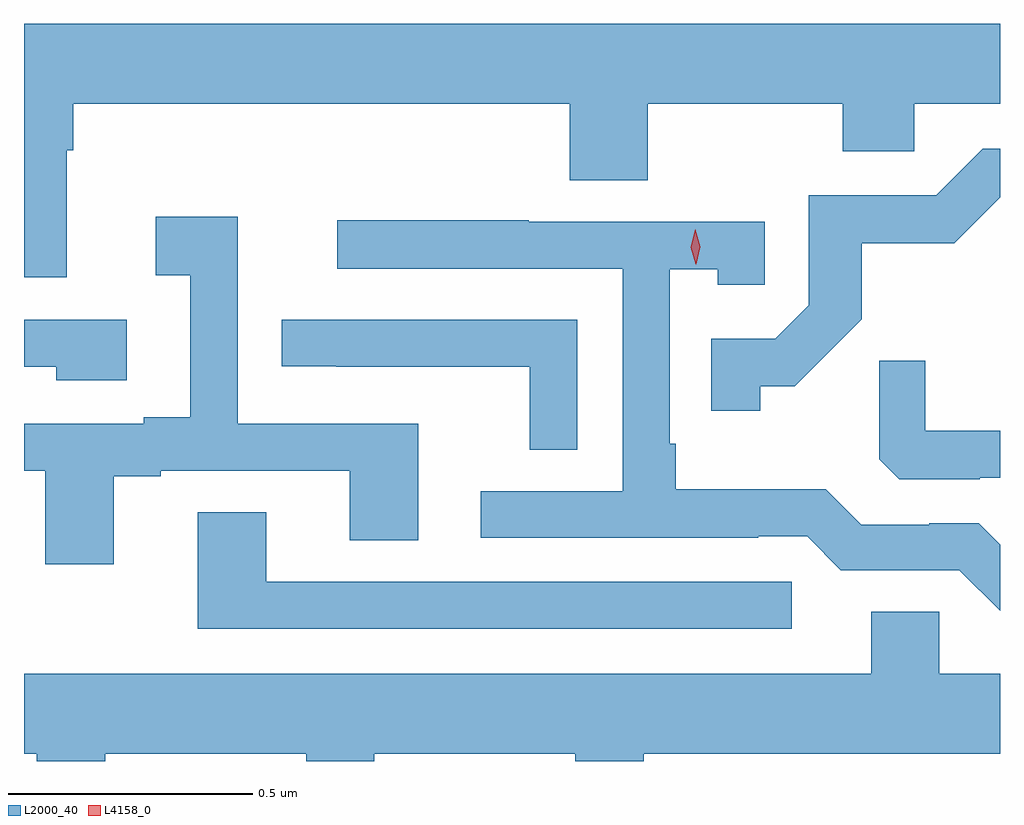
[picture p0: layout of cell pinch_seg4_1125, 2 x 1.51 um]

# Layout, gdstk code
import gdstk
lib = gdstk.Library(unit=1e-6, precision=1e-09)
def P(c, l, *ps):  # polygons
    for p in ps: c.add(gdstk.Polygon(p, *l))
L2000_40 = (2000, 40)
L4158_0 = (4158, 0)

pinch_seg4_1125 = lib.new_cell('pinch_seg4_1125')
P(pinch_seg4_1125, L2000_40, [(419.959,827.36),(419.972,827.36),(419.972,827.456),(420.989,827.456),(420.989,827.299),(421.149,827.299),(421.149,827.456),(421.549,827.456),(421.549,827.358),(421.695,827.358),(421.695,827.456),(421.871,827.456),(421.871,827.62),(419.871,827.62),(419.871,827.1),(419.959,827.1)],
  [(421.38,826.877),(421.45,826.877),(421.588,827.014),(421.588,827.17),(421.777,827.17),(421.871,827.264),(421.871,827.364),(421.836,827.364),(421.74,827.268),(421.479,827.268),(421.479,827.043),(421.41,826.974),(421.279,826.974),(421.279,826.827),(421.38,826.827)],
  [(420.055,826.692),(420.151,826.692),(420.151,826.704),(420.539,826.704),(420.539,826.561),(420.679,826.561),(420.679,826.8),(420.309,826.8),(420.309,827.224),(420.141,827.224),(420.141,827.104),(420.212,827.104),(420.212,826.813),(420.116,826.813),(420.116,826.8),(419.871,826.8),(419.871,826.704),(419.915,826.704),(419.915,826.512),(420.055,826.512)],
  [(421.871,826.552),(421.827,826.596),(421.726,826.596),(421.726,826.593),(421.587,826.593),(421.514,826.666),(421.207,826.666),(421.207,826.759),(421.194,826.759),(421.194,827.117),(421.293,827.117),(421.293,827.085),(421.389,827.085),(421.389,827.214),(420.905,827.214),(420.905,827.217),(420.513,827.217),(420.513,827.118),(421.098,827.118),(421.098,826.662),(420.807,826.662),(420.807,826.566),(421.376,826.566),(421.376,826.569),(421.476,826.569),(421.545,826.5),(421.788,826.5),(421.871,826.417)],
  [(421.005,827.013),(420.399,827.013),(420.399,826.918),(420.511,826.918),(420.511,826.917),(420.907,826.917),(420.907,826.747),(421.005,826.747)],
  [(420.082,827.013),(419.871,827.013),(419.871,826.917),(419.937,826.917),(419.937,826.889),(420.082,826.889)],
  [(421.83,826.689),(421.871,826.689),(421.871,826.786),(421.718,826.786),(421.718,826.929),(421.624,826.929),(421.624,826.727),(421.665,826.686),(421.83,826.686)],
  [(421.444,826.476),(420.367,826.476),(420.367,826.619),(420.227,826.619),(420.227,826.38),(421.444,826.38)],
  [(420.037,826.124),(420.449,826.124),(420.449,826.108),(420.589,826.108),(420.589,826.124),(421.001,826.124),(421.001,826.108),(421.141,826.108),(421.141,826.124),(421.871,826.124),(421.871,826.288),(421.746,826.288),(421.746,826.415),(421.607,826.415),(421.607,826.288),(419.871,826.288),(419.871,826.124),(419.897,826.124),(419.897,826.108),(420.037,826.108)])
P(pinch_seg4_1125, L4158_0, [(421.248,827.127),(421.248,827.127),(421.237,827.162),(421.246,827.199),(421.246,827.199),(421.246,827.199),(421.257,827.163),(421.249,827.127)])

lib.write_gds('pinch_seg4_1125.gds')
